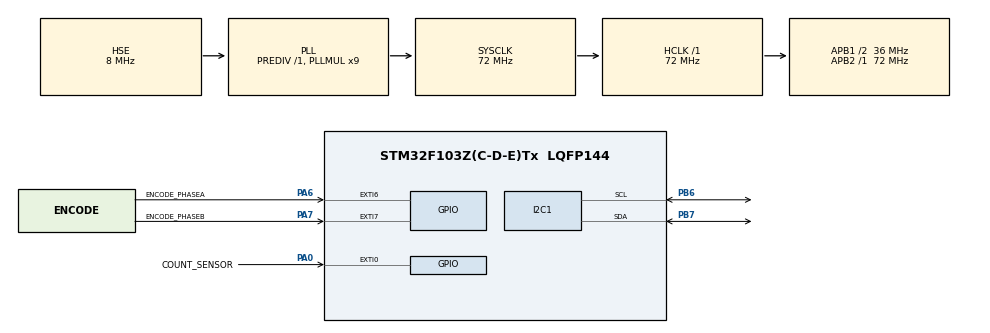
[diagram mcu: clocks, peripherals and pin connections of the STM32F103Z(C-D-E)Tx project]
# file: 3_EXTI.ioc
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Mcu.Family=STM32F1
Mcu.Name=STM32F103Z(C-D-E)Tx
Mcu.Package=LQFP144
NVIC.EXTI0_IRQn=true\:0\:0\:false\:false\:true\:true\:true\:true
NVIC.EXTI9_5_IRQn=true\:0\:0\:false\:false\:true\:true\:true\:true
NVIC.PriorityGroup=NVIC_PRIORITYGROUP_4
OSC_IN.Mode=HSE-External-Oscillator
OSC_IN.Signal=RCC_OSC_IN
OSC_OUT.Mode=HSE-External-Oscillator
OSC_OUT.Signal=RCC_OSC_OUT
PA0-WKUP.GPIO_Label=COUNT_SENSOR
PA0-WKUP.GPIO_ModeDefaultEXTI=GPIO_MODE_IT_FALLING
PA0-WKUP.Signal=GPXTI0
PA13.Mode=Serial_Wire
PA13.Signal=SYS_JTMS-SWDIO
PA14.Mode=Serial_Wire
PA14.Signal=SYS_JTCK-SWCLK
PA6.GPIO_Label=ENCODE_PHASEA
PA6.GPIO_ModeDefaultEXTI=GPIO_MODE_IT_FALLING
PA6.Signal=GPXTI6
PA7.GPIO_Label=ENCODE_PHASEB
PA7.GPIO_ModeDefaultEXTI=GPIO_MODE_IT_FALLING
PA7.Signal=GPXTI7
PB6.Mode=I2C
PB6.Signal=I2C1_SCL
PB7.Mode=I2C
PB7.Signal=I2C1_SDA
ProjectManager.HeapSize=0x200
ProjectManager.StackSize=0x400
ProjectManager.TargetToolchain=STM32CubeIDE
RCC.AHBFreq_Value=72000000
RCC.APB1CLKDivider=RCC_HCLK_DIV2
RCC.APB1Freq_Value=36000000
RCC.APB1TimFreq_Value=72000000
RCC.APB2Freq_Value=72000000
RCC.APB2TimFreq_Value=72000000
RCC.HCLKFreq_Value=72000000
RCC.PLLMUL=RCC_PLL_MUL9
RCC.PLLSourceVirtual=RCC_PLLSOURCE_HSE
RCC.SYSCLKFreq_VALUE=72000000
RCC.SYSCLKSource=RCC_SYSCLKSOURCE_PLLCLK
RCC.USBFreq_Value=72000000
board=custom

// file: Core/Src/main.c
/* USER CODE BEGIN Header */
/**
  ******************************************************************************
  * @file           : main.c
  * @brief          : Main program body
  ******************************************************************************
  * @attention
  *
  * Copyright (c) 2024 STMicroelectronics.
  * All rights reserved.
  *
  * This software is licensed under terms that can be found in the LICENSE file
  * in the root directory of this software component.
  * If no LICENSE file comes with this software, it is provided AS-IS.
  *
  ******************************************************************************
  */
/* USER CODE END Header */
#include "main.h"
#include "i2c.h"
#include "gpio.h"

/* USER CODE BEGIN PV */
uint32_t count_sensor;
int32_t encode_count;
/* USER CODE END PV */

void SystemClock_Config(void);

int main(void)
{

  /* MCU Configuration--------------------------------------------------------*/

  /* Reset of all peripherals, Initializes the Flash interface and the Systick. */
  HAL_Init();

  /* Configure the system clock */
  SystemClock_Config();

  /* Initialize all configured peripherals */
  MX_GPIO_Init();
  MX_I2C1_Init();
  /* USER CODE BEGIN 2 */
  OLED_Init();
  /* USER CODE END 2 */

  /* Infinite loop */
  /* USER CODE BEGIN WHILE */
  while (1)
  {
	 OLED_ShowString(1, 1, "count:");
//	 OLED_ShowString(2, 1, "hello world!");
	  OLED_ShowNum(1, 7, count_sensor, 5);
	  OLED_ShowString(2, 1, "encode:");
	  OLED_ShowSignedNum(2, 8, encode_count, 4);
    /* USER CODE END WHILE */

  }
}

void SystemClock_Config(void)
{
  RCC_OscInitTypeDef RCC_OscInitStruct = {0};
  RCC_ClkInitTypeDef RCC_ClkInitStruct = {0};

  /** Initializes the RCC Oscillators according to the specified parameters
  * in the RCC_OscInitTypeDef structure.
  */
  RCC_OscInitStruct.OscillatorType = RCC_OSCILLATORTYPE_HSE;
  RCC_OscInitStruct.HSEState = RCC_HSE_ON;
  RCC_OscInitStruct.HSEPredivValue = RCC_HSE_PREDIV_DIV1;
  RCC_OscInitStruct.HSIState = RCC_HSI_ON;
  RCC_OscInitStruct.PLL.PLLState = RCC_PLL_ON;
  RCC_OscInitStruct.PLL.PLLSource = RCC_PLLSOURCE_HSE;
  RCC_OscInitStruct.PLL.PLLMUL = RCC_PLL_MUL9;
  if (HAL_RCC_OscConfig(&RCC_OscInitStruct) != HAL_OK)
  {
    Error_Handler();
  }

  /** Initializes the CPU, AHB and APB buses clocks
  */
  RCC_ClkInitStruct.ClockType = RCC_CLOCKTYPE_HCLK|RCC_CLOCKTYPE_SYSCLK
                              |RCC_CLOCKTYPE_PCLK1|RCC_CLOCKTYPE_PCLK2;
  RCC_ClkInitStruct.SYSCLKSource = RCC_SYSCLKSOURCE_PLLCLK;
  RCC_ClkInitStruct.AHBCLKDivider = RCC_SYSCLK_DIV1;
  RCC_ClkInitStruct.APB1CLKDivider = RCC_HCLK_DIV2;
  RCC_ClkInitStruct.APB2CLKDivider = RCC_HCLK_DIV1;

  if (HAL_RCC_ClockConfig(&RCC_ClkInitStruct, FLASH_LATENCY_2) != HAL_OK)
  {
    Error_Handler();
  }
}

/* USER CODE BEGIN 4 */
void HAL_GPIO_EXTI_Callback(uint16_t GPIO_Pin)
{
	if(GPIO_Pin == GPIO_PIN_0)
	{
		count_sensor++;
	}

	if(GPIO_Pin == GPIO_PIN_6)
	{
		if(HAL_GPIO_ReadPin(ENCODE_PHASEB_GPIO_Port, ENCODE_PHASEB_Pin) == RESET)
		{
			encode_count--;
		}
	}

	if(GPIO_Pin == GPIO_PIN_7)
	{
		if(HAL_GPIO_ReadPin(ENCODE_PHASEA_GPIO_Port, ENCODE_PHASEA_Pin) == RESET)
		{
			encode_count++;
		}
	}

}
/* USER CODE END 4 */

void Error_Handler(void)
{
  __disable_irq();
  while (1)
  {
  }
}
